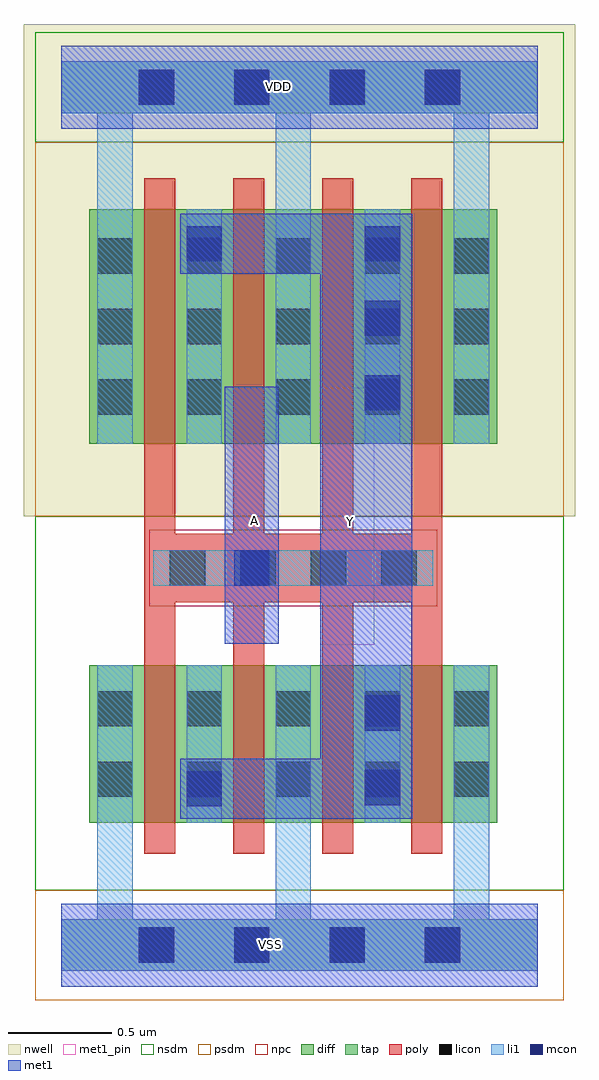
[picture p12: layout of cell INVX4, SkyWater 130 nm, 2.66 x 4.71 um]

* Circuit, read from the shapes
.subckt INVX4 A VDD VSS Y
XM1 Y A VSS VSS sky130_fd_pr__nfet_01v8 w=0.76 l=0.15 m=4
XM2 Y A VDD VDD sky130_fd_pr__pfet_01v8 w=1.13 l=0.15 m=4
.ends

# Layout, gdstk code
import gdstk
lib = gdstk.Library(unit=1e-6, precision=1e-09)
def R(c, l, rs):  # rectangles x0, y0, x1, y1
    for r in rs: c.add(gdstk.rectangle(r[:2], r[2:], *l))
def A(c, l, x, y, w, h, nx, ny, dx, dy):  # array of equal rectangles
    R(c, l, [(x+i*dx, y+j*dy, x+i*dx+w, y+j*dy+h) for i in range(nx) for j in range(ny)])
nwell = (64, 20)
diff = (65, 20)
tap = (65, 44)
poly = (66, 20)
licon = (66, 44)
li1 = (67, 20)
mcon = (67, 44)
met1_pin = (68, 16)
met1 = (68, 20)
nsdm = (93, 44)
psdm = (94, 20)
npc = (95, 20)

l1m1_c_cdns_750710154090 = lib.new_cell('L1M1_C_CDNS_750710154090')
R(l1m1_c_cdns_750710154090, li1, [(-0.165,-0.085,0.165,0.085)])
R(l1m1_c_cdns_750710154090, mcon, [(-0.085,-0.085,0.085,0.085)])
R(l1m1_c_cdns_750710154090, met1, [(-0.115,-0.145,0.115,0.145)])

l1m1_c_cdns_750710154098 = lib.new_cell('L1M1_C_CDNS_750710154098')
R(l1m1_c_cdns_750710154098, li1, [(-0.085,-0.525,0.085,0.525)])
A(l1m1_c_cdns_750710154098, mcon, -0.085, -0.445, 0.17, 0.17, 1, 3, 0, 0.36)
R(l1m1_c_cdns_750710154098, met1, [(-0.115,-0.505,0.115,0.505)])

pyl1con_c_cdns_750710154 = lib.new_cell('PYL1CON_C_CDNS_750710154092')
R(pyl1con_c_cdns_750710154, poly, [(-0.135,-0.165,0.135,0.165)])
R(pyl1con_c_cdns_750710154, licon, [(-0.085,-0.085,0.085,0.085)])
R(pyl1con_c_cdns_750710154, npc, [(-0.185,-0.185,0.185,0.185)])

l1m1_c_cdns_750710154091 = lib.new_cell('L1M1_C_CDNS_750710154091')
R(l1m1_c_cdns_750710154091, li1, [(-0.085,-0.165,0.085,0.165)])
R(l1m1_c_cdns_750710154091, mcon, [(-0.085,-0.085,0.085,0.085)])
R(l1m1_c_cdns_750710154091, met1, [(-0.115,-0.145,0.115,0.145)])

l1m1_c_cdns_750710154094 = lib.new_cell('L1M1_C_CDNS_750710154094')
R(l1m1_c_cdns_750710154094, li1, [(-0.085,-0.345,0.085,0.345)])
R(l1m1_c_cdns_750710154094, mcon, [(-0.085,-0.265,0.085,-0.095), (-0.085,0.095,0.085,0.265)])
R(l1m1_c_cdns_750710154094, met1, [(-0.115,-0.325,0.115,0.325)])

invx4 = lib.new_cell('INVX4')
R(invx4, nwell, [(-0.18,2.07,2.48,4.305), (-0.045,2.24,2.285,3.73), (-0.18,3.875,2.48,4.445)])
A(invx4, diff, 0.4, 0.59, 0.15, 0.76, 4, 1, 0.43, 0)
A(invx4, diff, 0.55, 0.59, 0.28, 0.76, 3, 1, 0.43, 0)
A(invx4, diff, 0.4, 2.42, 0.15, 1.13, 4, 1, 0.43, 0)
A(invx4, diff, 0.55, 2.42, 0.28, 1.13, 3, 1, 0.43, 0)
R(invx4, diff, [(0.135,0.59,0.4,1.35), (1.84,0.59,2.105,1.35), (0.135,2.42,0.4,3.55), (1.84,2.42,2.105,3.55)])
A(invx4, poly, 0.4, 0.44, 0.15, 0.055, 4, 2, 0.43, 1.005)
A(invx4, poly, 0.4, 0.495, 0.15, 0.095, 4, 2, 0.43, 0.855)
A(invx4, poly, 0.4, 0.59, 0.15, 0.76, 4, 1, 0.43, 0)
A(invx4, poly, 0.4, 1.5, 0.15, 0.775, 4, 1, 0.43, 0)
A(invx4, poly, 0.4, 2.27, 0.15, 0.055, 4, 2, 0.43, 1.375)
A(invx4, poly, 0.4, 2.325, 0.15, 0.095, 4, 2, 0.43, 1.225)
A(invx4, poly, 0.4, 2.42, 0.15, 1.13, 4, 1, 0.43, 0)
R(invx4, poly, [(0.4,1.655,1.84,1.985)])
A(invx4, licon, 0.175, 0.715, 0.17, 0.17, 5, 2, 0.43, 0.34)
A(invx4, licon, 0.175, 2.56, 0.17, 0.17, 5, 3, 0.43, 0.34)
R(invx4, licon, [(0.375,-0.085,0.545,0.085), (0.375,-0.085,0.545,0.085), (0.835,-0.085,1.005,0.085), (0.835,-0.085,1.005,0.085), (1.295,-0.085,1.465,0.085), (1.295,-0.085,1.465,0.085), (1.755,-0.085,1.925,0.085), (1.755,-0.085,1.925,0.085), (0.375,4.055,0.545,4.225), (0.375,4.055,0.545,4.225), (0.835,4.055,1.005,4.225), (0.835,4.055,1.005,4.225), (1.295,4.055,1.465,4.225), (1.295,4.055,1.465,4.225), (1.755,4.055,1.925,4.225), (1.755,4.055,1.925,4.225)])
A(invx4, li1, 0.175, 0.005, 0.17, 0.59, 3, 1, 0.86, 0)
A(invx4, li1, 0.175, 0.59, 0.17, 0.76, 5, 1, 0.43, 0)
A(invx4, li1, 0.175, 2.42, 0.17, 1.13, 5, 1, 0.43, 0)
R(invx4, li1, [(0.175,3.55,0.345,4.125), (1.035,3.55,1.205,4.125), (1.895,3.55,2.065,4.12)])
R(invx4, mcon, [(0.375,-0.085,0.545,0.085), (0.375,-0.085,0.545,0.085), (0.835,-0.085,1.005,0.085), (0.835,-0.085,1.005,0.085), (1.295,-0.085,1.465,0.085), (1.295,-0.085,1.465,0.085), (1.755,-0.085,1.925,0.085), (1.755,-0.085,1.925,0.085), (0.375,4.055,0.545,4.225), (0.375,4.055,0.545,4.225), (0.835,4.055,1.005,4.225), (0.835,4.055,1.005,4.225), (1.295,4.055,1.465,4.225), (1.295,4.055,1.465,4.225), (1.755,4.055,1.925,4.225), (1.755,4.055,1.925,4.225)])
R(invx4, met1_pin, [(1.25,1.45,1.51,2.69), (0.79,1.455,1.05,2.695)])
R(invx4, met1, [(1.25,0.61,1.695,3.53)])
R(invx4, nsdm, [(-0.125,0.265,2.425,2.07), (-0.005,0.46,2.245,1.48), (-0.125,3.875,2.425,4.405), (-0.125,3.875,2.425,4.405), (-0.125,3.93,2.425,4.35), (-0.125,3.93,2.425,4.35)])
R(invx4, psdm, [(-0.125,-0.265,2.425,0.265), (-0.125,-0.21,2.425,0.21), (-0.125,2.07,2.425,3.875), (-0.005,2.29,2.245,3.68)])
R(invx4, npc, [(0.425,1.635,1.815,2.005)])
invx4.add(gdstk.FlexPath([(2.215,0),(0,0)], 0.25, ends=(0.085, 0), simple_path=True, layer=67, datatype=20))  # li1
invx4.add(gdstk.FlexPath([(2.215,0),(0,0)], 0.25, ends=(0.085, 0), simple_path=True, layer=67, datatype=20))  # li1
invx4.add(gdstk.FlexPath([(2.215,4.14),(0,4.14)], 0.25, ends=(0.085, 0), simple_path=True, layer=67, datatype=20))  # li1
invx4.add(gdstk.FlexPath([(2.215,4.14),(0,4.14)], 0.25, ends=(0.085, 0), simple_path=True, layer=67, datatype=20))  # li1
invx4.add(gdstk.FlexPath([(0.445,1.82),(1.795,1.82)], 0.17, ends="flush", simple_path=True, layer=67, datatype=20))  # li1
invx4.add(gdstk.FlexPath([(0,0),(2.3,0)], 0.4, ends="flush", simple_path=True, layer=68, datatype=20))  # met1
invx4.add(gdstk.FlexPath([(0,4.14),(2.3,4.14)], 0.4, ends="flush", simple_path=True, layer=68, datatype=20))  # met1
invx4.add(gdstk.FlexPath([(1.55,0.755),(0.69,0.755)], 0.29, ends=(0.145, 0), simple_path=True, layer=68, datatype=20))  # met1
invx4.add(gdstk.FlexPath([(0.92,1.455),(0.92,2.695)], 0.26, ends="flush", simple_path=True, layer=68, datatype=20))  # met1
invx4.add(gdstk.FlexPath([(1.38,0.61),(1.38,3.53)], 0.26, ends="flush", simple_path=True, layer=68, datatype=20))  # met1
invx4.add(gdstk.FlexPath([(1.55,3.385),(0.69,3.385)], 0.29, ends=(0.145, 0), simple_path=True, layer=68, datatype=20))  # met1
invx4.add(gdstk.FlexPath([(0,0),(2.3,0)], 0.4, ends="flush", simple_path=True, layer=68, datatype=16))  # met1_pin
invx4.add(gdstk.FlexPath([(0,4.14),(2.3,4.14)], 0.4, ends="flush", simple_path=True, layer=68, datatype=16))  # met1_pin
invx4.add(gdstk.FlexPath([(0,4.14),(2.3,4.14)], 0.4, ends="flush", simple_path=True, layer=68, datatype=16))  # met1_pin
invx4.add(gdstk.FlexPath([(0,0),(2.3,0)], 0.4, ends="flush", simple_path=True, layer=68, datatype=16))  # met1_pin
invx4.add(gdstk.FlexPath([(0,4.14),(2.3,4.14)], 0.25, ends="flush", simple_path=True, layer=65, datatype=44))  # tap
invx4.add(gdstk.FlexPath([(0,0),(2.3,0)], 0.25, ends="flush", simple_path=True, layer=65, datatype=44))  # tap
invx4.add(gdstk.FlexPath([(0,4.14),(2.3,4.14)], 0.25, ends="flush", simple_path=True, layer=65, datatype=44))  # tap
invx4.add(gdstk.FlexPath([(0,0),(2.3,0)], 0.25, ends="flush", simple_path=True, layer=65, datatype=44))  # tap
invx4.add(gdstk.Reference(l1m1_c_cdns_750710154090, (0.92,1.82), x_reflection=True))
invx4.add(gdstk.Reference(l1m1_c_cdns_750710154098, (1.55,3.025)))
invx4.add(gdstk.Reference(pyl1con_c_cdns_750710154, (1.63,1.82)))
invx4.add(gdstk.Reference(pyl1con_c_cdns_750710154, (1.29,1.82)))
invx4.add(gdstk.Reference(pyl1con_c_cdns_750710154, (0.95,1.82)))
invx4.add(gdstk.Reference(pyl1con_c_cdns_750710154, (0.61,1.82)))
invx4.add(gdstk.Reference(l1m1_c_cdns_750710154091, (0.69,3.385)))
invx4.add(gdstk.Reference(l1m1_c_cdns_750710154091, (0.69,0.755)))
invx4.add(gdstk.Reference(l1m1_c_cdns_750710154094, (1.55,0.94)))
invx4.add(gdstk.Label('VDD', (1.05,4.145), layer=68, texttype=5))
invx4.add(gdstk.Label('A', (0.935,2.05), layer=68, texttype=5))
invx4.add(gdstk.Label('Y', (1.395,2.045), layer=68, texttype=5))
invx4.add(gdstk.Label('VSS', (1.01,0.005), layer=68, texttype=5))

lib.write_gds('INVX4.gds')
